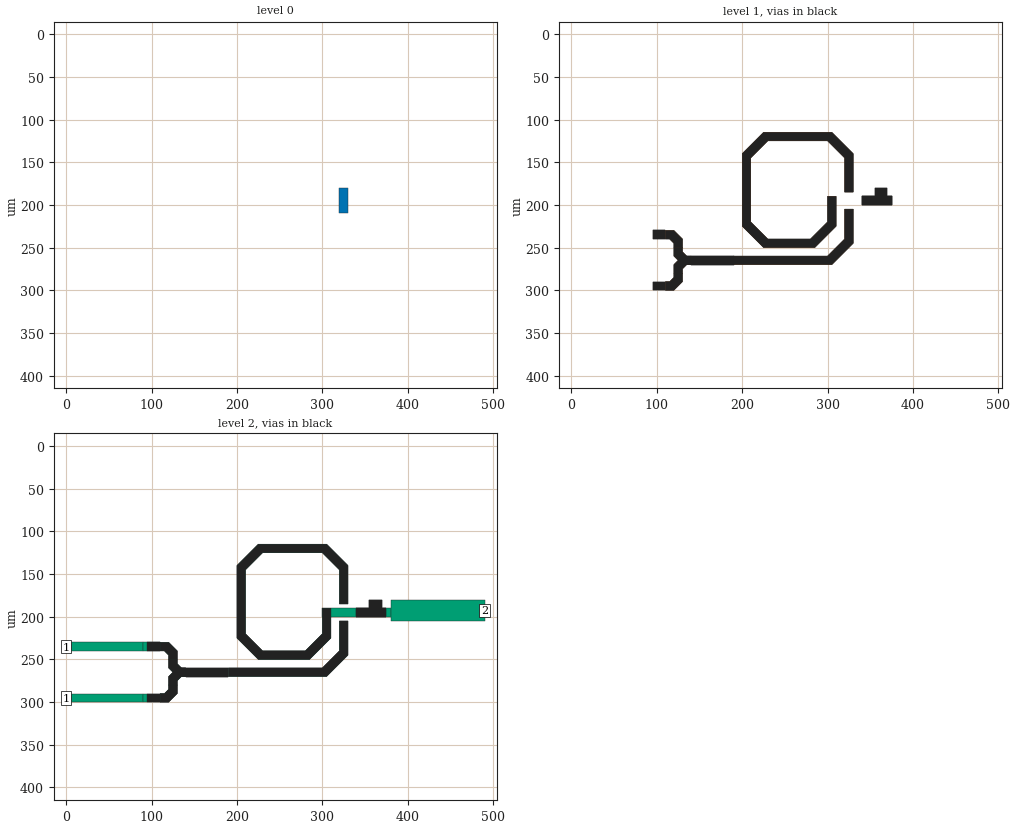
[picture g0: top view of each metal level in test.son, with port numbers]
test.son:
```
FTYP SONPROJ 4 ! Sonnet Project File
VER 12.52
HEADER
LIC Sonn.1.12345
DAT 10/21/2012 02:44:01
BUILT_BY_CREATED xgeom 12.52 06/25/2012 20:27:16
BUILT_BY_SAVED xgeom 12.52
MDATE 10/21/2012 02:44:01
HDATE 10/21/2012 02:44:01
END HEADER
DIM
FREQ GHZ
IND NH
LNG UM
ANG DEG
CON /OH
CAP PF
RES OH
END DIM
FREQ
ABS 1.0 80.0 
SWEEP 1.0 100.0 1.0
END FREQ
CONTROL
ABS
OPTIONS  -d 
SPEED 0
CACHE_ABS 1
TARG_ABS 300
Q_ACC N
END CONTROL
GEO
DRP1 LEFT FIX 85
DRP1 RIGHT FIX 110
TMET "Lossless" 0 SUP 0 0 0 0
BMET "Lossless" 0 SUP 0 0 0 0
MET "Metal1" 1 NAT 0.02 0
MET "Metal2" 2 TMM 41000000 0 2 2
MET "TFR" 3 NAT 50.32 0
BOX 3 490 400 980 800 20 0
      1000 1 1 0 0 0 0 "air"
      2 1 1 0 0 0 0 "airbridge"
      0.15 6.9 1 0 0 0 0 "cap."
      50 12.9 1 0.001 0 0 0 "GAAS"
VALVAR GAAS LNG 0 "Layer Thickness"
POR1 STD
POLY 40 1
1
2 50 0 0 0 490 192.5 
POR1 STD
POLY 42 1
3
1 50 0 0 0 -6.600000006e-006 295 
POR1 STD
POLY 46 1
3
1 50 0 0 0 -6.600000006e-006 235 
NUM 38
0 5 1 N 13 1 1 100 100 0 0 0 Y
320 180
330 180
330 210
320 210
320 180
END
1 24 1 N 15 1 1 100 100 0 0 0 Y
305 115
225 115
200 140
199.9999999 220
199.9999999 225
224.9999999 250
284.9999999 250
309.9999999 225
310 190
310 190
300 190
299.9999999 220
279.9999999 240
229.9999999 240
209.9999999 220
209.9999999 220
210 145
230 125
300 125
320 145
320 185
330 185
330 140
305 115
END
VIA POLYGON
1 21 -1 N 16 1 1 100 100 0 0 0 Y
TOLEVEL 2
305 115
225 115
200 140
199.9999999 225
224.9999999 250
284.9999999 250
309.9999999 225
310 190
300.0000008 190
299.9999999 220
279.9999999 240
229.9999999 240
209.9999999 220
210 145
230 125
300 125
320 145
319.9999992 185
329.9999992 185
330 140
305 115
END
VIA POLYGON
1 5 -1 T 17 1 1 100 100 0 0 0 Y
TOLEVEL 2
110 240
110 230
95 230
95 240
110 240
END
VIA POLYGON
1 5 -1 T 18 1 1 100 100 0 0 0 Y
TOLEVEL 2
110 300
110 290
95 290
95 300
110 300
END
1 5 1 T 19 1 1 100 100 0 0 0 Y
110 240
110 230
95 230
95 240
110 240
END
1 5 1 T 20 1 1 100 100 0 0 0 Y
110 300
110 290
95 290
95 300
110 300
END
VIA POLYGON
1 5 -1 T 21 1 1 100 100 0 0 0 Y
TOLEVEL 2
189.9999998 270
189.9999998 260
140 260
140 270
189.9999998 270
END
1 5 1 T 22 1 1 100 100 0 0 0 Y
189.9999998 270
189.9999998 260
140 260
140 270
189.9999998 270
END
1 9 1 N 23 1 1 100 100 0 0 0 Y
110 240
110 230
120 230
130 240
130 250
120 250
120 245
115 240
110 240
END
1 9 1 N 24 1 1 100 100 0 0 0 Y
110 290
110 300
120 300
130 290
130 280
120 280
120 285
115 290
110 290
END
1 9 1 N 25 1 1 100 100 0 0 0 Y
140 270
140 260
130 260
120 270
120 280
130 280
130 275
135 270
140 270
END
1 9 1 N 26 1 1 100 100 0 0 0 Y
140 260
140 270
130 270
120 260
120 250
130 250
130 255
135 260
140 260
END
VIA POLYGON
1 9 -1 N 27 1 1 100 100 0 0 0 Y
TOLEVEL 2
120 250
120 260
130 270
140 270
140 260
135 260
130 255
130 250
120 250
END
VIA POLYGON
1 9 -1 N 28 1 1 100 100 0 0 0 Y
TOLEVEL 2
130 250
130 240
120 230
110 230
110 240
115 240
120 245
120 250
130 250
END
VIA POLYGON
1 9 -1 N 29 1 1 100 100 0 0 0 Y
TOLEVEL 2
130 280
130 290
120 300
110 300
110 290
115 290
120 285
120 280
130 280
END
VIA POLYGON
1 9 -1 N 30 1 1 100 100 0 0 0 Y
TOLEVEL 2
120 280
120 270
130 260
140 260
140 270
135 270
130 275
130 280
120 280
END
1 5 1 T 31 1 1 100 100 0 0 0 Y
340 200
375 200
375 190
340 190
340 200
END
VIA POLYGON
1 5 -1 T 32 1 1 100 100 0 0 0 Y
TOLEVEL 2
340 200
375 200
375 190
340 190
340 200
END
VIA POLYGON
1 5 -1 T 33 1 1 100 100 0 0 0 Y
TOLEVEL 2
340 200
375 200
375 190
340 190
340 200
END
1 5 1 N 34 1 1 100 100 0 0 0 Y
355 180
370 180
370 190
355 190
355 180
END
VIA POLYGON
1 5 -1 N 35 1 1 100 100 0 0 0 Y
TOLEVEL 2
355 180
370 180
370 190
355 190
355 180
END
1 9 1 N 36 1 1 100 100 0 0 0 Y
304.9999999 270
329.9999999 245
329.9999992 205
319.9999992 205
319.9999999 240
299.9999999 260
189.9999998 260
189.9999998 270
304.9999999 270
END
VIA POLYGON
1 9 -1 N 37 1 1 100 100 0 0 0 Y
TOLEVEL 2
304.9999999 270
329.9999999 245
329.9999992 205
319.9999992 205
319.9999999 240
299.9999999 260
189.9999998 260
189.9999998 270
304.9999999 270
END
2 5 0 T 39 1 1 100 100 0 0 0 Y
300 200
380 200
380 190
300 190
300 200
END
2 5 -1 T 40 1 1 100 100 0 0 0 Y
380 205
490 205
490 180
380 180
380 205
END
2 5 -1 T 42 1 1 100 100 0 0 0 Y
-6.600000006e-006 300
90 300
90 290
-6.600000006e-006 290
-6.600000006e-006 300
END
2 5 0 T 44 1 1 100 100 0 0 0 Y
110 300
110 290
90 290
90 300
110 300
END
2 22 0 N 45 1 1 100 100 0 0 0 Y
305.0000003 115
225 115
200 140
199.9999999 225
224.9999999 250
284.9999999 250
309.9999999 225
310 190
310.0000008 190
300.0000008 190
299.9999999 220
279.9999999 240
229.9999999 240
209.9999999 220
210 145
230 125
300.0000003 125
320.0000003 145
319.9999992 185
329.9999992 185
330.0000003 140
305.0000003 115
END
2 5 -1 T 46 1 1 100 100 0 0 0 Y
-6.600000006e-006 240
90 240
90 230
-6.600000006e-006 230
-6.600000006e-006 240
END
2 5 0 T 48 1 1 100 100 0 0 0 Y
110 240
110 230
90 230
90 240
110 240
END
2 5 0 T 49 1 1 100 100 0 0 0 Y
189.9999998 270
189.9999998 260
140 260
140 270
189.9999998 270
END
2 9 0 N 50 1 1 100 100 0 0 0 Y
110 240
110 230
120 230
130 240
130 250
120 250
120 245
115 240
110 240
END
2 9 0 N 51 1 1 100 100 0 0 0 Y
110 290
110 300
120 300
130 290
130 280
120 280
120 285
115 290
110 290
END
2 9 0 N 52 1 1 100 100 0 0 0 Y
140 270
140 260
130 260
120 270
120 280
130 280
130 275
135 270
140 270
END
2 9 0 N 53 1 1 100 100 0 0 0 Y
140 260
140 270
130 270
120 260
120 250
130 250
130 255
135 260
140 260
END
2 5 0 N 54 1 1 100 100 0 0 0 Y
355 180
370 180
370 190
355 190
355 180
END
2 9 0 N 55 1 1 100 100 0 0 0 Y
305.0000001 270
330.0000001 245
329.9999992 205
319.9999992 205
320.0000001 240
300.0000001 260
189.9999998 260
189.9999998 270
305.0000001 270
END
END GEO
OPT
MAX 100
VARS
END OPT
VARSWP
END VARSWP
FILEOUT
TS D Y $BASENAME.s2p IC 8 S MA R 50.00000
END FILEOUT
QSG
IMPORT NO
EXTRA_METAL NO
UNITS YES
ALIGN NO
REF YES
VIEW_RES NO
METALS YES
USED NO
END QSG
3DOPTIONS
GLOBAL 29
ALL 4 1
END 3DOPTIONS
```
